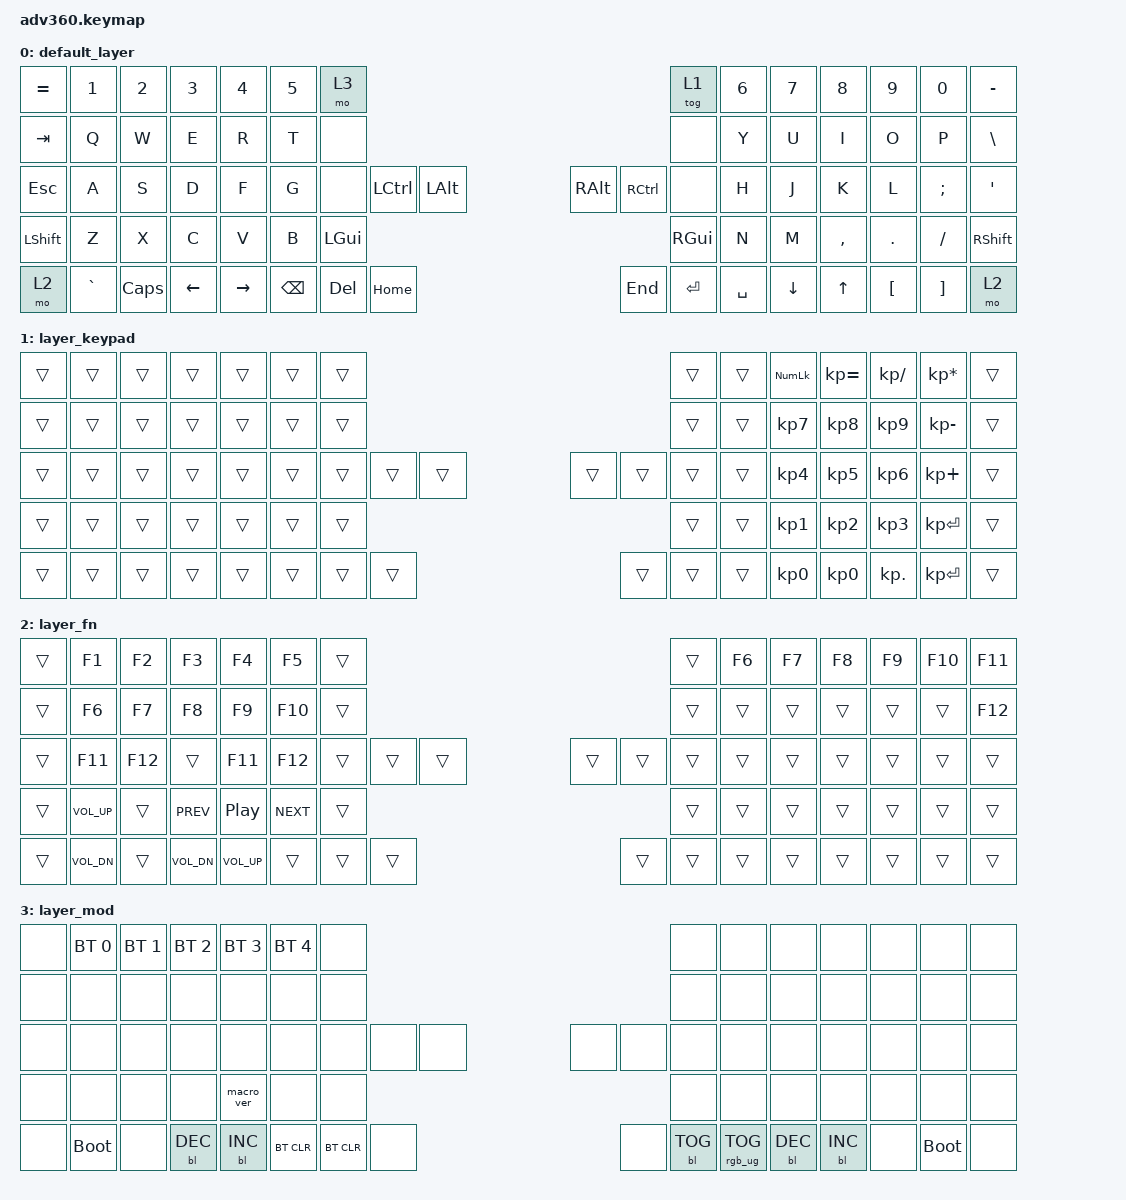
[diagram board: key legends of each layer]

/*
 * Copyright (c) 2020 The ZMK Contributors
 *
 * SPDX-License-Identifier: MIT
 */


/* THIS FILE WAS GENERATED!
 *
 * This file was generated automatically. You may or may not want to
 * edit it directly.
 */

#include <behaviors.dtsi>
#include <dt-bindings/zmk/keys.h>
#include <dt-bindings/zmk/bt.h>
#include <dt-bindings/zmk/backlight.h>
#include <dt-bindings/zmk/rgb.h>

/ {
  behaviors {
    #include "macros.dtsi"
    #include "version.dtsi"

    hm: homerow_mods {
        compatible = "zmk,behavior-hold-tap";
        label = "HOMEROW_MODS";
        #binding-cells = <2>;
        tapping-term-ms = <200>;
        quick_tap_ms = <175>;
        flavor = "tap-preferred";
        bindings = <&kp>, <&kp>;
    };
  };

    keymap {
        compatible = "zmk,keymap";


        default_layer {
            bindings = <
 &kp EQUAL     &kp N1    &kp N2    &kp N3     &kp N4  &kp N5               &mo 3                                                               &tog 1  &kp N6    &kp N7     &kp N8    &kp N9    &kp N0  &kp MINUS
   &kp TAB      &kp Q     &kp W     &kp E      &kp R   &kp T               &none                                                                &none   &kp Y     &kp U      &kp I     &kp O     &kp P   &kp BSLH
   &kp ESC      &kp A     &kp S     &kp D      &kp F   &kp G               &none  &kp LCTRL  &kp LALT                  &kp RALT  &kp RCTRL      &none   &kp H     &kp J      &kp K     &kp L  &kp SEMI    &kp SQT
 &kp LSHFT      &kp Z     &kp X     &kp C      &kp V   &kp B                                 &kp LGUI                  &kp RGUI                         &kp N     &kp M  &kp COMMA   &kp DOT  &kp FSLH  &kp RSHFT
     &mo 2  &kp GRAVE  &kp CAPS  &kp LEFT  &kp RIGHT                    &kp BSPC    &kp DEL  &kp HOME                   &kp END  &kp ENTER  &kp SPACE          &kp DOWN     &kp UP  &kp LBKT  &kp RBKT      &mo 2
            >;
        };

        layer_keypad {
            bindings = <
 &trans  &trans  &trans  &trans  &trans  &trans            &trans                                                  &trans  &trans  &kp KP_NUM  &kp KP_EQUAL  &kp KP_DIVIDE  &kp KP_MULTIPLY  &trans
 &trans  &trans  &trans  &trans  &trans  &trans            &trans                                                  &trans  &trans   &kp KP_N7     &kp KP_N8      &kp KP_N9     &kp KP_MINUS  &trans
 &trans  &trans  &trans  &trans  &trans  &trans            &trans  &trans  &trans                  &trans  &trans  &trans  &trans   &kp KP_N4     &kp KP_N5      &kp KP_N6      &kp KP_PLUS  &trans
 &trans  &trans  &trans  &trans  &trans  &trans                            &trans                  &trans                  &trans   &kp KP_N1     &kp KP_N2      &kp KP_N3     &kp KP_ENTER  &trans
 &trans  &trans  &trans  &trans  &trans                    &trans  &trans  &trans                  &trans  &trans  &trans           &kp KP_N0     &kp KP_N0     &kp KP_DOT     &kp KP_ENTER  &trans
            >;
        };

        layer_fn {
            bindings = <
 &trans        &kp F1   &kp F2        &kp F3        &kp F4      &kp F5            &trans                                                  &trans  &kp F6  &kp F7  &kp F8  &kp F9  &kp F10  &kp F11
 &trans        &kp F6   &kp F7        &kp F8        &kp F9     &kp F10            &trans                                                  &trans  &trans  &trans  &trans  &trans   &trans  &kp F12
 &trans       &kp F11  &kp F12        &trans       &kp F11     &kp F12            &trans  &trans  &trans                  &trans  &trans  &trans  &trans  &trans  &trans  &trans   &trans   &trans
 &trans  &kp C_VOL_UP   &trans    &kp C_PREV      &kp C_PP  &kp C_NEXT                            &trans                  &trans                  &trans  &trans  &trans  &trans   &trans   &trans
 &trans  &kp C_VOL_DN   &trans  &kp C_VOL_DN  &kp C_VOL_UP                        &trans  &trans  &trans                  &trans  &trans  &trans          &trans  &trans  &trans   &trans   &trans
            >;
        };

        layer_mod {
            bindings = <
  &none  &bt BT_SEL 0  &bt BT_SEL 1  &bt BT_SEL 2  &bt BT_SEL 3  &bt BT_SEL 4                 &none                                                                    &none   &none       &none       &none   &none        &none   &none
  &none         &none         &none         &none         &none         &none                 &none                                                                    &none   &none       &none       &none   &none        &none   &none
  &none         &none         &none         &none         &none         &none                 &none       &none   &none                   &none       &none            &none   &none       &none       &none   &none        &none   &none
  &none         &none         &none         &none    &macro_ver         &none                                     &none                   &none                                &none       &none       &none   &none        &none   &none
  &none   &bootloader         &none    &bl BL_DEC    &bl BL_INC                          &bt BT_CLR  &bt BT_CLR   &none                   &none  &bl BL_TOG  &rgb_ug RGB_TOG          &bl BL_DEC  &bl BL_INC   &none  &bootloader   &none
            >;
        };

    };
};
